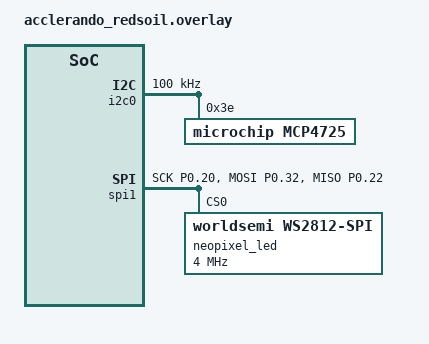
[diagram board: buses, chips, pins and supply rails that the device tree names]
/ {
	aliases {
		dac0 = &mcp4275;
	};
};	
	

&i2c0 {
	status = "okay";
	clock-frequency = <I2C_BITRATE_STANDARD>;

	mcp4725: mcp4725@3e {
		status = "okay";
		compatible = "microchip,mcp4725";
  		reg = <0x3e>;
		#io-channel-cells = 1;
	};
};

&pinctrl {
       neopixel_spi_default: neopixel_spi_default {
                group1 {
                        psels = <NRF_PSEL(SPIM_SCK, 0, 20)>,
                                <NRF_PSEL(SPIM_MOSI, 0, 32)>,
                                <NRF_PSEL(SPIM_MISO, 0, 22)>;
                };
        };

        neopixel_spi_sleep: neopixel_spi_sleep {
                group1 {
                        psels = <NRF_PSEL(SPIM_SCK, 0, 20)>,
                                <NRF_PSEL(SPIM_MOSI, 0, 32)>,
                                <NRF_PSEL(SPIM_MISO, 0, 22)>;
                        low-power-enable;
                };
        };
}

neopixel_spi: &spi1 {
        compatible = "nordic,nrf-spim";
        status = "okay";

        pinctrl-0 = <&neopixel_spi_default>;
        pinctrl-1 = <&neopixel_spi_sleep>;
        pinctrl-names = "default", "sleep";

        neopixel_led: ws2812@0 {
                compatible = "worldsemi,ws2812-spi";

                reg = <0>; /* ignored, but necessary for SPI bindings */
                spi-max-frequency = <4000000>;

                chain-length = <1>;
                color-mapping = <LED_COLOR_ID_GREEN
                                LED_COLOR_ID_RED
                                LED_COLOR_ID_BLUE>;
                spi-one-frame = <0x70>;
                spi-zero-frame = <0x40>;
        };
};

